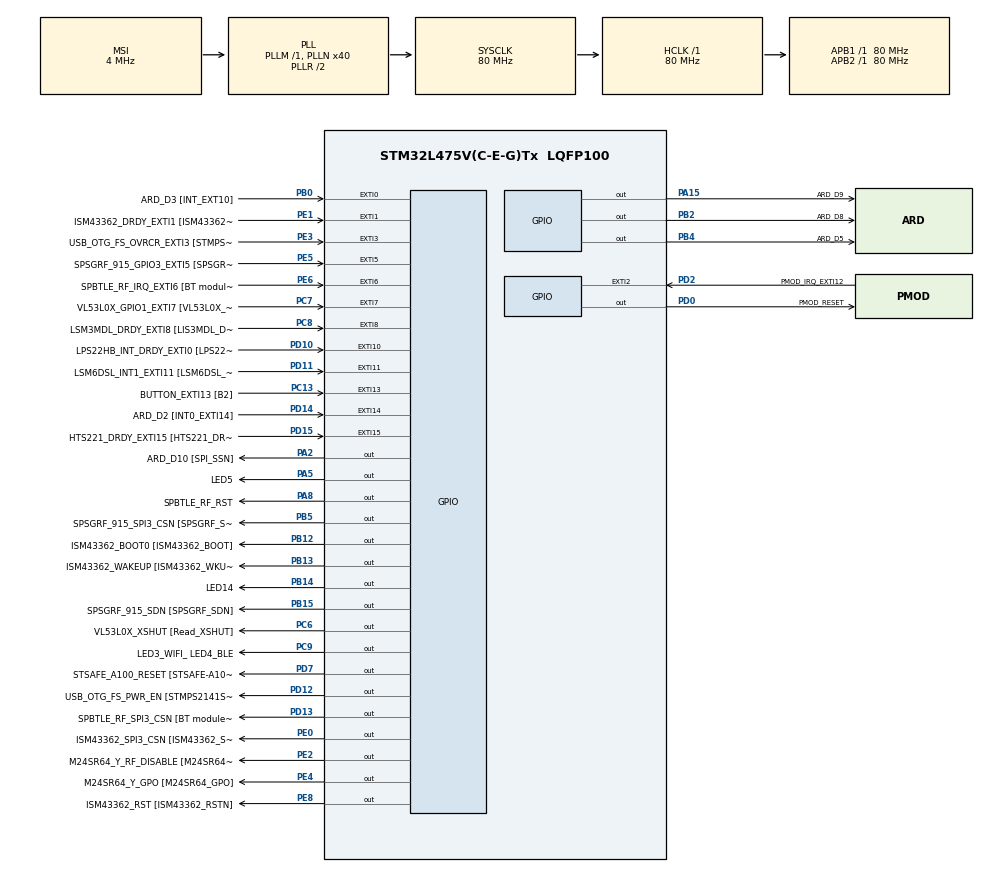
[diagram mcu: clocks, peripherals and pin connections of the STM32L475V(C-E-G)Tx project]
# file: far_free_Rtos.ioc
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Mcu.Family=STM32L4
Mcu.Name=STM32L475V(C-E-G)Tx
Mcu.Package=LQFP100
NVIC.EXTI15_10_IRQn=true\:0\:0\:false\:false\:true\:true\:true
NVIC.EXTI9_5_IRQn=true\:0\:0\:false\:false\:true\:true\:true
NVIC.PriorityGroup=NVIC_PRIORITYGROUP_4
NVIC.TIM6_DAC_IRQn=true\:15\:0\:false\:false\:true\:false\:true
NVIC.TimeBase=TIM6_DAC_IRQn
NVIC.TimeBaseIP=TIM6
PA0.GPIO_Label=ARD_D1 [UART4_TX]
PA0.Signal=UART4_TX
PA1.GPIO_Label=ARD_D0 [UART4_RX]
PA1.Signal=UART4_RX
PA10.GPIO_Label=USB_OTG_FS_ID
PA10.Signal=USB_OTG_FS_ID
PA11.GPIO_Label=USB_OTG_FS_DM
PA11.Signal=USB_OTG_FS_DM
PA12.GPIO_Label=USB_OTG_FS_DP
PA12.Signal=USB_OTG_FS_DP
PA13\ (JTMS-SWDIO).GPIO_Label=SYS_JTMS_SWDIO
PA13\ (JTMS-SWDIO).Signal=SYS_JTMS-SWDIO
PA14\ (JTCK-SWCLK).GPIO_Label=SYS_JTCK_SWCLK
PA14\ (JTCK-SWCLK).Signal=SYS_JTCK-SWCLK
PA15\ (JTDI).GPIO_Label=ARD_D9
PA15\ (JTDI).Signal=GPIO_Output
PA2.GPIO_Label=ARD_D10 [SPI_SSN]
PA2.Signal=GPIO_Output
PA3.GPIO_Label=ARD_D4
PA3.Signal=S_TIM2_CH4
PA4.GPIO_Label=ARD_D7
PA4.Signal=ADCx_IN9
PA5.GPIO_Label=LED5
PA5.Signal=GPIO_Output
PA6.GPIO_Label=ARD_D12 [SPI1_MISO]
PA6.Signal=SPI1_MISO
PA7.GPIO_Label=ARD_D11 [SPI1_MOSI]
PA7.Signal=SPI1_MOSI
PA8.GPIO_Label=SPBTLE_RF_RST
PA8.Signal=GPIO_Output
PA9.GPIO_Label=USB_OTG_FS_VBUS [STMPS2141STR_OUT]
PA9.Signal=USB_OTG_FS_VBUS
PB0.GPIO_Label=ARD_D3 [INT_EXT10]
PB0.Signal=GPXTI0
PB1.GPIO_Label=ARD_D6 [ADC1_IN6]
PB1.Signal=ADCx_IN16
PB10.GPIO_Label=INTERNAL_I2C2_SCL [VL53L0X_SCL]
PB10.Signal=I2C2_SCL
PB11.GPIO_Label=INTERNAL_I2C2_SDA [VL53L0X_SDA]
PB11.Signal=I2C2_SDA
PB12.GPIO_Label=ISM43362_BOOT0 [ISM43362_BOOT]
PB12.Signal=GPIO_Output
PB13.GPIO_Label=ISM43362_WAKEUP [ISM43362_WKUP]
PB13.Signal=GPIO_Output
PB14.GPIO_Label=LED14
PB14.Signal=GPIO_Output
PB15.GPIO_Label=SPSGRF_915_SDN [SPSGRF_SDN]
PB15.Signal=GPIO_Output
PB2.GPIO_Label=ARD_D8
PB2.Signal=GPIO_Output
PB3\ (JTDO-TRACESWO).GPIO_Label=SYS_JTD0_SWO
PB3\ (JTDO-TRACESWO).Signal=SYS_JTDO-SWO
PB4\ (NJTRST).GPIO_Label=ARD_D5
PB4\ (NJTRST).Signal=GPIO_Output
PB5.GPIO_Label=SPSGRF_915_SPI3_CSN [SPSGRF_SPI_CS]
PB5.PinState=GPIO_PIN_SET
PB5.Signal=GPIO_Output
PB6.GPIO_Label=ST_LINK_UART1_TX
PB6.Signal=USART1_TX
PB7.GPIO_Label=ST_LINK_UART1_RX
PB7.Signal=USART1_RX
PB8.GPIO_Label=ARD_D15 [I2C1_SCL]
PB8.Signal=I2C1_SCL
PB9.GPIO_Label=ARD_D14 [I2C1_SDA]
PB9.Signal=I2C1_SDA
PC0.GPIO_Label=ARD_A5 [ADC]
PC0.Signal=ADCx_IN1
PC1.GPIO_Label=ARD_A4 [ADC]
PC1.Signal=ADCx_IN2
PC10.GPIO_Label=INTERNAL_SPI3_SCK [BT module_SPI_SCLK] [ISM43362_SCK]
PC10.Signal=SPI3_SCK
PC11.GPIO_Label=INTERNAL_SPI3_MISO [BT module_SPI_MISO] [ISM43362_MISO]
PC11.Signal=SPI3_MISO
PC12.GPIO_Label=INTERNAL_SPI3_MOSI [BT module_SPI_MOSI] [ISM43362_MOSI]
PC12.Signal=SPI3_MOSI
PC13.GPIO_Label=BUTTON_EXTI13 [B2]
PC13.GPIO_ModeDefaultEXTI=GPIO_MODE_IT_FALLING
PC13.Signal=GPXTI13
PC14-OSC32_IN\ (PC14).Signal=RCC_OSC32_IN
PC15-OSC32_OUT\ (PC15).Signal=RCC_OSC32_OUT
PC2.GPIO_Label=ARD_A3 [ADC]
PC2.Signal=ADCx_IN3
PC3.GPIO_Label=ARD_A2 [ADC]
PC3.Signal=ADCx_IN4
PC4.GPIO_Label=ARD_A1 [ADC]
PC4.Signal=ADCx_IN13
PC5.GPIO_Label=ARD_A0 [ADC]
PC5.Signal=ADCx_IN14
PC6.GPIO_Label=VL53L0X_XSHUT [Read_XSHUT]
PC6.Signal=GPIO_Output
PC7.GPIO_Label=VL53L0X_GPIO1_EXTI7 [VL53L0X_GPIO1]
PC7.Signal=GPXTI7
PC8.GPIO_Label=LSM3MDL_DRDY_EXTI8 [LIS3MDL_DRDY]
PC8.Signal=GPXTI8
PC9.GPIO_Label=LED3_WIFI_ LED4_BLE
PC9.Signal=GPIO_Output
PD0.GPIO_Label=PMOD_RESET
PD0.Signal=GPIO_Output
PD1.GPIO_Label=PMOD_SPI2_SCK
PD1.Signal=SPI2_SCK
PD10.GPIO_Label=LPS22HB_INT_DRDY_EXTI0 [LPS22HB_INT_DRDY] 
PD10.Signal=GPXTI10
PD11.GPIO_Label=LSM6DSL_INT1_EXTI11 [LSM6DSL_INT1]
PD11.Signal=GPXTI11
PD12.GPIO_Label=USB_OTG_FS_PWR_EN [STMPS2141STR_EN]
PD12.Signal=GPIO_Output
PD13.GPIO_Label=SPBTLE_RF_SPI3_CSN [BT module_SPI_CS]
PD13.PinState=GPIO_PIN_SET
PD13.Signal=GPIO_Output
PD14.GPIO_Label=ARD_D2 [INT0_EXTI14]
PD14.Signal=GPXTI14
PD15.GPIO_Label=HTS221_DRDY_EXTI15 [HTS221_DRDY]
PD15.Signal=GPXTI15
PD2.GPIO_Label=PMOD_IRQ_EXTI12
PD2.Signal=GPXTI2
PD3.GPIO_Label=PMOD_UART2_CTS
PD3.Signal=USART2_CTS
PD4.GPIO_Label=PMOD_UART2_RTS
PD4.Signal=USART2_RTS
PD5.GPIO_Label=PMOD_UART2_TX
PD5.Signal=USART2_TX
PD6.GPIO_Label=PMOD_UART2_RX
PD6.Signal=USART2_RX
PD7.GPIO_Label=STSAFE_A100_RESET [STSAFE-A100_RESET]
PD7.Signal=GPIO_Output
PD8.GPIO_Label=INTERNAL_UART3_TX [ISM43362_RX]
PD8.Signal=USART3_TX
PD9.GPIO_Label=INTERNAL_UART3_RX [ISM43362_TX]
PD9.Signal=USART3_RX
PE0.GPIO_Label=ISM43362_SPI3_CSN [ISM43362_SSN]
PE0.PinState=GPIO_PIN_SET
PE0.Signal=GPIO_Output
PE1.GPIO_Label=ISM43362_DRDY_EXTI1 [ISM43362_DATARDY]
PE1.Signal=GPXTI1
PE10.GPIO_Label=QUADSPI_CLK [MX25R6435F_SCLK]
PE10.Signal=QUADSPI_CLK
PE11.GPIO_Label=QUADSPI_NCS [MX25R6435F_SCLK]
PE11.Signal=QUADSPI_NCS
PE12.GPIO_Label=OQUADSPI_BK1_IO0 [MX25R6435F_IO0]
PE12.Signal=QUADSPI_BK1_IO0
PE13.GPIO_Label=QUADSPI_BK1_IO1 [MX25R6435F_IO1]
PE13.Signal=QUADSPI_BK1_IO1
PE14.GPIO_Label=QUAD_SPI_BK1_IO2 [MX25R6435F_IO2]
PE14.Signal=QUADSPI_BK1_IO2
PE15.GPIO_Label=QUAD_SPI_BK1_IO3 [MX25R6435F_IO3]
PE15.Signal=QUADSPI_BK1_IO3
PE2.GPIO_Label=M24SR64_Y_RF_DISABLE [M24SR64_RFDIS]
PE2.Signal=GPIO_Output
PE3.GPIO_Label=USB_OTG_FS_OVRCR_EXTI3 [STMPS2141STR_FAULT]
PE3.Signal=GPXTI3
PE4.GPIO_Label=M24SR64_Y_GPO [M24SR64_GPO]
PE4.Signal=GPIO_Output
PE5.GPIO_Label=SPSGRF_915_GPIO3_EXTI5 [SPSGRF_GPIO_3]
PE5.Signal=GPXTI5
PE6.GPIO_Label=SPBTLE_RF_IRQ_EXTI6 [BT module_SPI_IRQ]
PE6.Signal=GPXTI6
PE7.GPIO_Label=DFSDM1_DATIN2 [MP34DT01_DOUT]
PE7.Signal=S_DATAIN2DFSDM1
PE8.GPIO_Label=ISM43362_RST [ISM43362_RSTN]
PE8.Signal=GPIO_Output
PE9.GPIO_Label=DFSDM1_CKOUT [MP34DT01_CLK]
PE9.Signal=S_CKOUTDFSDM1
ProjectManager.HeapSize=0x200
ProjectManager.StackSize=0x400
ProjectManager.TargetToolchain=STM32CubeIDE
RCC.ADCFreq_Value=48000000
RCC.AHBFreq_Value=80000000
RCC.APB1Freq_Value=80000000
RCC.APB1TimFreq_Value=80000000
RCC.APB2Freq_Value=80000000
RCC.APB2TimFreq_Value=80000000
RCC.CortexFreq_Value=80000000
RCC.HCLKFreq_Value=80000000
RCC.HSE_VALUE=8000000
RCC.HSI_VALUE=16000000
RCC.LSE_VALUE=32768
RCC.MSI_VALUE=4000000
RCC.PLLN=40
RCC.PLLSAI1N=24
RCC.SYSCLKFreq_VALUE=80000000
RCC.SYSCLKSource=RCC_SYSCLKSOURCE_PLLCLK
RCC.USBFreq_Value=48000000
RCC.VCOOutputFreq_Value=160000000
SH.ADCx_IN1.0=ADC1_IN1
SH.ADCx_IN13.0=ADC1_IN13
SH.ADCx_IN14.0=ADC1_IN14
SH.ADCx_IN16.0=ADC1_IN16
SH.ADCx_IN2.0=ADC1_IN2
SH.ADCx_IN3.0=ADC1_IN3
SH.ADCx_IN4.0=ADC1_IN4
SH.ADCx_IN9.0=ADC1_IN9
SH.S_CKOUTDFSDM1.0=DFSDM1_CKOUT
SH.S_DATAIN2DFSDM1.0=DFSDM1_DATIN2
SH.S_TIM2_CH4.0=TIM2_CH4
VP_SYS_VS_tim6.Mode=TIM6
board=B-L475E-IOT01A1

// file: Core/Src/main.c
/* USER CODE BEGIN Header */
/**
  ******************************************************************************
  * @file           : main.c
  * @brief          : Main program body
  ******************************************************************************
  * @attention
  *
  * <h2><center>&copy; Copyright (c) 2022 STMicroelectronics.
  * All rights reserved.</center></h2>
  *
  * This software component is licensed by ST under BSD 3-Clause license,
  * the "License"; You may not use this file except in compliance with the
  * License. You may obtain a copy of the License at:
  *                        opensource.org/licenses/BSD-3-Clause
  *
  ******************************************************************************
  */
/* USER CODE END Header */
#include "main.h"

/* USER CODE BEGIN Includes */
#include "FreeRTOS.h"
#include "Task.h"
#include <stdio.h>

/* USER CODE END Includes */

void SystemClock_Config(void);
static void MX_GPIO_Init(void);
/* USER CODE BEGIN PFP */
static void task1_handler(void* parameters);
static void task2_handler(void* parameters);
/* USER CODE END PFP */

int main(void)
{
  /* USER CODE BEGIN 1 */
	TaskHandle_t task1_handle;
	TaskHandle_t task2_handle;
	BaseType_t status;
	BaseType_t status1;

  /* USER CODE END 1 */

  /* MCU Configuration--------------------------------------------------------*/

  /* Reset of all peripherals, Initializes the Flash interface and the Systick. */
  HAL_Init();

  /* Configure the system clock */
  SystemClock_Config();

  /* Initialize all configured peripherals */
  MX_GPIO_Init();
  /* USER CODE BEGIN 2 */
  status = xTaskCreate(task1_handler,"Task1", 200,"Hello World from Task-1", 2,&task1_handle);
  configASSERT(status == pdPASS);
  status1 = xTaskCreate(task2_handler,"Task2", 200,"Hello World from Task-2", 2,&task2_handle);
  configASSERT(status1 == pdPASS);

  // Start the real time scheduler.
  vTaskStartScheduler();
  // Will not get here unless there is insufficient RAM.

  /* USER CODE END 2 */

  /* Infinite loop */
  while (1)
  {

  }
}

void SystemClock_Config(void)
{
  RCC_OscInitTypeDef RCC_OscInitStruct = {0};
  RCC_ClkInitTypeDef RCC_ClkInitStruct = {0};

  /** Configure the main internal regulator output voltage
  */
  if (HAL_PWREx_ControlVoltageScaling(PWR_REGULATOR_VOLTAGE_SCALE1) != HAL_OK)
  {
    Error_Handler();
  }
  /** Initializes the RCC Oscillators according to the specified parameters
  * in the RCC_OscInitTypeDef structure.
  */
  RCC_OscInitStruct.OscillatorType = RCC_OSCILLATORTYPE_MSI;
  RCC_OscInitStruct.MSIState = RCC_MSI_ON;
  RCC_OscInitStruct.MSICalibrationValue = 0;
  RCC_OscInitStruct.MSIClockRange = RCC_MSIRANGE_6;
  RCC_OscInitStruct.PLL.PLLState = RCC_PLL_ON;
  RCC_OscInitStruct.PLL.PLLSource = RCC_PLLSOURCE_MSI;
  RCC_OscInitStruct.PLL.PLLM = 1;
  RCC_OscInitStruct.PLL.PLLN = 40;
  RCC_OscInitStruct.PLL.PLLP = RCC_PLLP_DIV7;
  RCC_OscInitStruct.PLL.PLLQ = RCC_PLLQ_DIV2;
  RCC_OscInitStruct.PLL.PLLR = RCC_PLLR_DIV2;
  if (HAL_RCC_OscConfig(&RCC_OscInitStruct) != HAL_OK)
  {
    Error_Handler();
  }
  /** Initializes the CPU, AHB and APB buses clocks
  */
  RCC_ClkInitStruct.ClockType = RCC_CLOCKTYPE_HCLK|RCC_CLOCKTYPE_SYSCLK
                              |RCC_CLOCKTYPE_PCLK1|RCC_CLOCKTYPE_PCLK2;
  RCC_ClkInitStruct.SYSCLKSource = RCC_SYSCLKSOURCE_PLLCLK;
  RCC_ClkInitStruct.AHBCLKDivider = RCC_SYSCLK_DIV1;
  RCC_ClkInitStruct.APB1CLKDivider = RCC_HCLK_DIV1;
  RCC_ClkInitStruct.APB2CLKDivider = RCC_HCLK_DIV1;

  if (HAL_RCC_ClockConfig(&RCC_ClkInitStruct, FLASH_LATENCY_4) != HAL_OK)
  {
    Error_Handler();
  }
}

static void MX_GPIO_Init(void)
{
  GPIO_InitTypeDef GPIO_InitStruct = {0};

  /* GPIO Ports Clock Enable */
  __HAL_RCC_GPIOE_CLK_ENABLE();
  __HAL_RCC_GPIOC_CLK_ENABLE();
  __HAL_RCC_GPIOA_CLK_ENABLE();
  __HAL_RCC_GPIOB_CLK_ENABLE();
  __HAL_RCC_GPIOD_CLK_ENABLE();

  /*Configure GPIO pin Output Level */
  HAL_GPIO_WritePin(GPIOE, M24SR64_Y_RF_DISABLE_Pin|M24SR64_Y_GPO_Pin|ISM43362_RST_Pin, GPIO_PIN_RESET);

  /*Configure GPIO pin Output Level */
  HAL_GPIO_WritePin(GPIOA, ARD_D10_Pin|LED5_Pin|SPBTLE_RF_RST_Pin|ARD_D9_Pin, GPIO_PIN_RESET);

  /*Configure GPIO pin Output Level */
  HAL_GPIO_WritePin(GPIOB, ARD_D8_Pin|ISM43362_BOOT0_Pin|ISM43362_WAKEUP_Pin|LED14_Pin
                          |SPSGRF_915_SDN_Pin|ARD_D5_Pin, GPIO_PIN_RESET);

  /*Configure GPIO pin Output Level */
  HAL_GPIO_WritePin(GPIOD, USB_OTG_FS_PWR_EN_Pin|PMOD_RESET_Pin|STSAFE_A100_RESET_Pin, GPIO_PIN_RESET);

  /*Configure GPIO pin Output Level */
  HAL_GPIO_WritePin(SPBTLE_RF_SPI3_CSN_GPIO_Port, SPBTLE_RF_SPI3_CSN_Pin, GPIO_PIN_SET);

  /*Configure GPIO pin Output Level */
  HAL_GPIO_WritePin(GPIOC, VL53L0X_XSHUT_Pin|LED3_WIFI__LED4_BLE_Pin, GPIO_PIN_RESET);

  /*Configure GPIO pin Output Level */
  HAL_GPIO_WritePin(SPSGRF_915_SPI3_CSN_GPIO_Port, SPSGRF_915_SPI3_CSN_Pin, GPIO_PIN_SET);

  /*Configure GPIO pin Output Level */
  HAL_GPIO_WritePin(ISM43362_SPI3_CSN_GPIO_Port, ISM43362_SPI3_CSN_Pin, GPIO_PIN_SET);

  /*Configure GPIO pins : M24SR64_Y_RF_DISABLE_Pin M24SR64_Y_GPO_Pin ISM43362_RST_Pin ISM43362_SPI3_CSN_Pin */
  GPIO_InitStruct.Pin = M24SR64_Y_RF_DISABLE_Pin|M24SR64_Y_GPO_Pin|ISM43362_RST_Pin|ISM43362_SPI3_CSN_Pin;
  GPIO_InitStruct.Mode = GPIO_MODE_OUTPUT_PP;
  GPIO_InitStruct.Pull = GPIO_NOPULL;
  GPIO_InitStruct.Speed = GPIO_SPEED_FREQ_LOW;
  HAL_GPIO_Init(GPIOE, &GPIO_InitStruct);

  /*Configure GPIO pins : USB_OTG_FS_OVRCR_EXTI3_Pin SPSGRF_915_GPIO3_EXTI5_Pin SPBTLE_RF_IRQ_EXTI6_Pin ISM43362_DRDY_EXTI1_Pin */
  GPIO_InitStruct.Pin = USB_OTG_FS_OVRCR_EXTI3_Pin|SPSGRF_915_GPIO3_EXTI5_Pin|SPBTLE_RF_IRQ_EXTI6_Pin|ISM43362_DRDY_EXTI1_Pin;
  GPIO_InitStruct.Mode = GPIO_MODE_IT_RISING;
  GPIO_InitStruct.Pull = GPIO_NOPULL;
  HAL_GPIO_Init(GPIOE, &GPIO_InitStruct);

  /*Configure GPIO pin : BUTTON_EXTI13_Pin */
  GPIO_InitStruct.Pin = BUTTON_EXTI13_Pin;
  GPIO_InitStruct.Mode = GPIO_MODE_IT_FALLING;
  GPIO_InitStruct.Pull = GPIO_NOPULL;
  HAL_GPIO_Init(BUTTON_EXTI13_GPIO_Port, &GPIO_InitStruct);

  /*Configure GPIO pins : ARD_A5_Pin ARD_A4_Pin ARD_A3_Pin ARD_A2_Pin
                           ARD_A1_Pin ARD_A0_Pin */
  GPIO_InitStruct.Pin = ARD_A5_Pin|ARD_A4_Pin|ARD_A3_Pin|ARD_A2_Pin
                          |ARD_A1_Pin|ARD_A0_Pin;
  GPIO_InitStruct.Mode = GPIO_MODE_ANALOG_ADC_CONTROL;
  GPIO_InitStruct.Pull = GPIO_NOPULL;
  HAL_GPIO_Init(GPIOC, &GPIO_InitStruct);

  /*Configure GPIO pins : ARD_D1_Pin ARD_D0_Pin */
  GPIO_InitStruct.Pin = ARD_D1_Pin|ARD_D0_Pin;
  GPIO_InitStruct.Mode = GPIO_MODE_AF_PP;
  GPIO_InitStruct.Pull = GPIO_NOPULL;
  GPIO_InitStruct.Speed = GPIO_SPEED_FREQ_VERY_HIGH;
  GPIO_InitStruct.Alternate = GPIO_AF8_UART4;
  HAL_GPIO_Init(GPIOA, &GPIO_InitStruct);

  /*Configure GPIO pins : ARD_D10_Pin LED5_Pin SPBTLE_RF_RST_Pin ARD_D9_Pin */
  GPIO_InitStruct.Pin = ARD_D10_Pin|LED5_Pin|SPBTLE_RF_RST_Pin|ARD_D9_Pin;
  GPIO_InitStruct.Mode = GPIO_MODE_OUTPUT_PP;
  GPIO_InitStruct.Pull = GPIO_NOPULL;
  GPIO_InitStruct.Speed = GPIO_SPEED_FREQ_LOW;
  HAL_GPIO_Init(GPIOA, &GPIO_InitStruct);

  /*Configure GPIO pin : ARD_D4_Pin */
  GPIO_InitStruct.Pin = ARD_D4_Pin;
  GPIO_InitStruct.Mode = GPIO_MODE_AF_PP;
  GPIO_InitStruct.Pull = GPIO_NOPULL;
  GPIO_InitStruct.Speed = GPIO_SPEED_FREQ_LOW;
  GPIO_InitStruct.Alternate = GPIO_AF1_TIM2;
  HAL_GPIO_Init(ARD_D4_GPIO_Port, &GPIO_InitStruct);

  /*Configure GPIO pin : ARD_D7_Pin */
  GPIO_InitStruct.Pin = ARD_D7_Pin;
  GPIO_InitStruct.Mode = GPIO_MODE_ANALOG_ADC_CONTROL;
  GPIO_InitStruct.Pull = GPIO_NOPULL;
  HAL_GPIO_Init(ARD_D7_GPIO_Port, &GPIO_InitStruct);

  /*Configure GPIO pins : ARD_D12_Pin ARD_D11_Pin */
  GPIO_InitStruct.Pin = ARD_D12_Pin|ARD_D11_Pin;
  GPIO_InitStruct.Mode = GPIO_MODE_AF_PP;
  GPIO_InitStruct.Pull = GPIO_NOPULL;
  GPIO_InitStruct.Speed = GPIO_SPEED_FREQ_VERY_HIGH;
  GPIO_InitStruct.Alternate = GPIO_AF5_SPI1;
  HAL_GPIO_Init(GPIOA, &GPIO_InitStruct);

  /*Configure GPIO pin : ARD_D3_Pin */
  GPIO_InitStruct.Pin = ARD_D3_Pin;
  GPIO_InitStruct.Mode = GPIO_MODE_IT_RISING;
  GPIO_InitStruct.Pull = GPIO_NOPULL;
  HAL_GPIO_Init(ARD_D3_GPIO_Port, &GPIO_InitStruct);

  /*Configure GPIO pin : ARD_D6_Pin */
  GPIO_InitStruct.Pin = ARD_D6_Pin;
  GPIO_InitStruct.Mode = GPIO_MODE_ANALOG_ADC_CONTROL;
  GPIO_InitStruct.Pull = GPIO_NOPULL;
  HAL_GPIO_Init(ARD_D6_GPIO_Port, &GPIO_InitStruct);

  /*Configure GPIO pins : ARD_D8_Pin ISM43362_BOOT0_Pin ISM43362_WAKEUP_Pin LED14_Pin
                           SPSGRF_915_SDN_Pin ARD_D5_Pin SPSGRF_915_SPI3_CSN_Pin */
  GPIO_InitStruct.Pin = ARD_D8_Pin|ISM43362_BOOT0_Pin|ISM43362_WAKEUP_Pin|LED14_Pin
                          |SPSGRF_915_SDN_Pin|ARD_D5_Pin|SPSGRF_915_SPI3_CSN_Pin;
  GPIO_InitStruct.Mode = GPIO_MODE_OUTPUT_PP;
  GPIO_InitStruct.Pull = GPIO_NOPULL;
  GPIO_InitStruct.Speed = GPIO_SPEED_FREQ_LOW;
  HAL_GPIO_Init(GPIOB, &GPIO_InitStruct);

  /*Configure GPIO pins : DFSDM1_DATIN2_Pin DFSDM1_CKOUT_Pin */
  GPIO_InitStruct.Pin = DFSDM1_DATIN2_Pin|DFSDM1_CKOUT_Pin;
  GPIO_InitStruct.Mode = GPIO_MODE_AF_PP;
  GPIO_InitStruct.Pull = GPIO_NOPULL;
  GPIO_InitStruct.Speed = GPIO_SPEED_FREQ_LOW;
  GPIO_InitStruct.Alternate = GPIO_AF6_DFSDM1;
  HAL_GPIO_Init(GPIOE, &GPIO_InitStruct);

  /*Configure GPIO pins : QUADSPI_CLK_Pin QUADSPI_NCS_Pin OQUADSPI_BK1_IO0_Pin QUADSPI_BK1_IO1_Pin
                           QUAD_SPI_BK1_IO2_Pin QUAD_SPI_BK1_IO3_Pin */
  GPIO_InitStruct.Pin = QUADSPI_CLK_Pin|QUADSPI_NCS_Pin|OQUADSPI_BK1_IO0_Pin|QUADSPI_BK1_IO1_Pin
                          |QUAD_SPI_BK1_IO2_Pin|QUAD_SPI_BK1_IO3_Pin;
  GPIO_InitStruct.Mode = GPIO_MODE_AF_PP;
  GPIO_InitStruct.Pull = GPIO_NOPULL;
  GPIO_InitStruct.Speed = GPIO_SPEED_FREQ_VERY_HIGH;
  GPIO_InitStruct.Alternate = GPIO_AF10_QUADSPI;
  HAL_GPIO_Init(GPIOE, &GPIO_InitStruct);

  /*Configure GPIO pins : INTERNAL_I2C2_SCL_Pin INTERNAL_I2C2_SDA_Pin */
  GPIO_InitStruct.Pin = INTERNAL_I2C2_SCL_Pin|INTERNAL_I2C2_SDA_Pin;
  GPIO_InitStruct.Mode = GPIO_MODE_AF_OD;
  GPIO_InitStruct.Pull = GPIO_NOPULL;
  GPIO_InitStruct.Speed = GPIO_SPEED_FREQ_VERY_HIGH;
  GPIO_InitStruct.Alternate = GPIO_AF4_I2C2;
  HAL_GPIO_Init(GPIOB, &GPIO_InitStruct);

  /*Configure GPIO pins : INTERNAL_UART3_TX_Pin INTERNAL_UART3_RX_Pin */
  GPIO_InitStruct.Pin = INTERNAL_UART3_TX_Pin|INTERNAL_UART3_RX_Pin;
  GPIO_InitStruct.Mode = GPIO_MODE_AF_PP;
  GPIO_InitStruct.Pull = GPIO_NOPULL;
  GPIO_InitStruct.Speed = GPIO_SPEED_FREQ_VERY_HIGH;
  GPIO_InitStruct.Alternate = GPIO_AF7_USART3;
  HAL_GPIO_Init(GPIOD, &GPIO_InitStruct);

  /*Configure GPIO pins : LPS22HB_INT_DRDY_EXTI0_Pin LSM6DSL_INT1_EXTI11_Pin ARD_D2_Pin HTS221_DRDY_EXTI15_Pin
                           PMOD_IRQ_EXTI12_Pin */
  GPIO_InitStruct.Pin = LPS22HB_INT_DRDY_EXTI0_Pin|LSM6DSL_INT1_EXTI11_Pin|ARD_D2_Pin|HTS221_DRDY_EXTI15_Pin
                          |PMOD_IRQ_EXTI12_Pin;
  GPIO_InitStruct.Mode = GPIO_MODE_IT_RISING;
  GPIO_InitStruct.Pull = GPIO_NOPULL;
  HAL_GPIO_Init(GPIOD, &GPIO_InitStruct);

  /*Configure GPIO pins : USB_OTG_FS_PWR_EN_Pin SPBTLE_RF_SPI3_CSN_Pin PMOD_RESET_Pin STSAFE_A100_RESET_Pin */
  GPIO_InitStruct.Pin = USB_OTG_FS_PWR_EN_Pin|SPBTLE_RF_SPI3_CSN_Pin|PMOD_RESET_Pin|STSAFE_A100_RESET_Pin;
  GPIO_InitStruct.Mode = GPIO_MODE_OUTPUT_PP;
  GPIO_InitStruct.Pull = GPIO_NOPULL;
  GPIO_InitStruct.Speed = GPIO_SPEED_FREQ_LOW;
  HAL_GPIO_Init(GPIOD, &GPIO_InitStruct);

  /*Configure GPIO pins : VL53L0X_XSHUT_Pin LED3_WIFI__LED4_BLE_Pin */
  GPIO_InitStruct.Pin = VL53L0X_XSHUT_Pin|LED3_WIFI__LED4_BLE_Pin;
  GPIO_InitStruct.Mode = GPIO_MODE_OUTPUT_PP;
  GPIO_InitStruct.Pull = GPIO_NOPULL;
  GPIO_InitStruct.Speed = GPIO_SPEED_FREQ_LOW;
  HAL_GPIO_Init(GPIOC, &GPIO_InitStruct);

  /*Configure GPIO pins : VL53L0X_GPIO1_EXTI7_Pin LSM3MDL_DRDY_EXTI8_Pin */
  GPIO_InitStruct.Pin = VL53L0X_GPIO1_EXTI7_Pin|LSM3MDL_DRDY_EXTI8_Pin;
  GPIO_InitStruct.Mode = GPIO_MODE_IT_RISING;
  GPIO_InitStruct.Pull = GPIO_NOPULL;
  HAL_GPIO_Init(GPIOC, &GPIO_InitStruct);

  /*Configure GPIO pin : USB_OTG_FS_VBUS_Pin */
  GPIO_InitStruct.Pin = USB_OTG_FS_VBUS_Pin;
  GPIO_InitStruct.Mode = GPIO_MODE_INPUT;
  GPIO_InitStruct.Pull = GPIO_NOPULL;
  HAL_GPIO_Init(USB_OTG_FS_VBUS_GPIO_Port, &GPIO_InitStruct);

  /*Configure GPIO pins : USB_OTG_FS_ID_Pin USB_OTG_FS_DM_Pin USB_OTG_FS_DP_Pin */
  GPIO_InitStruct.Pin = USB_OTG_FS_ID_Pin|USB_OTG_FS_DM_Pin|USB_OTG_FS_DP_Pin;
  GPIO_InitStruct.Mode = GPIO_MODE_AF_PP;
  GPIO_InitStruct.Pull = GPIO_NOPULL;
  GPIO_InitStruct.Speed = GPIO_SPEED_FREQ_VERY_HIGH;
  GPIO_InitStruct.Alternate = GPIO_AF10_OTG_FS;
  HAL_GPIO_Init(GPIOA, &GPIO_InitStruct);

  /*Configure GPIO pins : INTERNAL_SPI3_SCK_Pin INTERNAL_SPI3_MISO_Pin INTERNAL_SPI3_MOSI_Pin */
  GPIO_InitStruct.Pin = INTERNAL_SPI3_SCK_Pin|INTERNAL_SPI3_MISO_Pin|INTERNAL_SPI3_MOSI_Pin;
  GPIO_InitStruct.Mode = GPIO_MODE_AF_PP;
  GPIO_InitStruct.Pull = GPIO_NOPULL;
  GPIO_InitStruct.Speed = GPIO_SPEED_FREQ_VERY_HIGH;
  GPIO_InitStruct.Alternate = GPIO_AF6_SPI3;
  HAL_GPIO_Init(GPIOC, &GPIO_InitStruct);

  /*Configure GPIO pin : PMOD_SPI2_SCK_Pin */
  GPIO_InitStruct.Pin = PMOD_SPI2_SCK_Pin;
  GPIO_InitStruct.Mode = GPIO_MODE_AF_PP;
  GPIO_InitStruct.Pull = GPIO_NOPULL;
  GPIO_InitStruct.Speed = GPIO_SPEED_FREQ_VERY_HIGH;
  GPIO_InitStruct.Alternate = GPIO_AF5_SPI2;
  HAL_GPIO_Init(PMOD_SPI2_SCK_GPIO_Port, &GPIO_InitStruct);

  /*Configure GPIO pins : PMOD_UART2_CTS_Pin PMOD_UART2_RTS_Pin PMOD_UART2_TX_Pin PMOD_UART2_RX_Pin */
  GPIO_InitStruct.Pin = PMOD_UART2_CTS_Pin|PMOD_UART2_RTS_Pin|PMOD_UART2_TX_Pin|PMOD_UART2_RX_Pin;
  GPIO_InitStruct.Mode = GPIO_MODE_AF_PP;
  GPIO_InitStruct.Pull = GPIO_NOPULL;
  GPIO_InitStruct.Speed = GPIO_SPEED_FREQ_VERY_HIGH;
  GPIO_InitStruct.Alternate = GPIO_AF7_USART2;
  HAL_GPIO_Init(GPIOD, &GPIO_InitStruct);

  /*Configure GPIO pins : ST_LINK_UART1_TX_Pin ST_LINK_UART1_RX_Pin */
  GPIO_InitStruct.Pin = ST_LINK_UART1_TX_Pin|ST_LINK_UART1_RX_Pin;
  GPIO_InitStruct.Mode = GPIO_MODE_AF_PP;
  GPIO_InitStruct.Pull = GPIO_NOPULL;
  GPIO_InitStruct.Speed = GPIO_SPEED_FREQ_VERY_HIGH;
  GPIO_InitStruct.Alternate = GPIO_AF7_USART1;
  HAL_GPIO_Init(GPIOB, &GPIO_InitStruct);

  /*Configure GPIO pins : ARD_D15_Pin ARD_D14_Pin */
  GPIO_InitStruct.Pin = ARD_D15_Pin|ARD_D14_Pin;
  GPIO_InitStruct.Mode = GPIO_MODE_AF_OD;
  GPIO_InitStruct.Pull = GPIO_NOPULL;
  GPIO_InitStruct.Speed = GPIO_SPEED_FREQ_VERY_HIGH;
  GPIO_InitStruct.Alternate = GPIO_AF4_I2C1;
  HAL_GPIO_Init(GPIOB, &GPIO_InitStruct);

  /* EXTI interrupt init*/
  HAL_NVIC_SetPriority(EXTI9_5_IRQn, 0, 0);
  HAL_NVIC_EnableIRQ(EXTI9_5_IRQn);

  HAL_NVIC_SetPriority(EXTI15_10_IRQn, 0, 0);
  HAL_NVIC_EnableIRQ(EXTI15_10_IRQn);

}

/* USER CODE BEGIN 4 */
static void task1_handler(void* parameters)
{
	while(1)
	{
		//printf("%s\n", (char*)parameters);

		printf("in task1\n");
		HAL_GPIO_WritePin(LED5_GPIO_Port, GPIO_PIN_5,1);
		HAL_Delay(500);
		HAL_GPIO_WritePin(LED5_GPIO_Port, GPIO_PIN_5,0);
		HAL_Delay(500);
		taskYIELD();
	}
}

static void task2_handler(void* parameters)
{
	while(1)
	{
		//printf("%s\n", (char*)parameters);
		printf("in task2\n");
		HAL_GPIO_WritePin(LED14_GPIO_Port, GPIO_PIN_14,1);
		HAL_Delay(1000);
		HAL_GPIO_WritePin(LED14_GPIO_Port, GPIO_PIN_14,0);
		HAL_Delay(1000);
		taskYIELD();
	}
}

/* USER CODE END 4 */

void HAL_TIM_PeriodElapsedCallback(TIM_HandleTypeDef *htim)
{
  if (htim->Instance == TIM6) {
    HAL_IncTick();
  }
}

void Error_Handler(void)
{
  __disable_irq();
  while (1)
  {
  }
}

/************************ (C) COPYRIGHT STMicroelectronics *****END OF FILE****/
